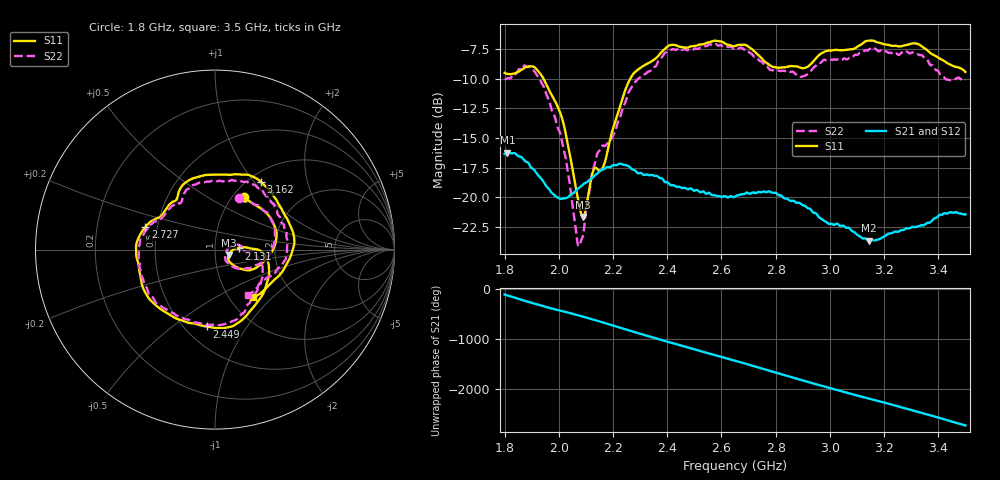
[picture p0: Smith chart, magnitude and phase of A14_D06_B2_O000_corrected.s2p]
! Created with skrf 1.9.0 (http://scikit-rf.org).
# Hz S RI R 50.0
!freq ReS11 ImS11 ReS21 ImS21 ReS12 ImS12 ReS22 ImS22
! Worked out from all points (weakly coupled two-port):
!   1601 points, 1.8 GHz to 3.5 GHz, reference 50 ohm
!   highest |S21| = -16.25 dB at 1.811 GHz (marker M1); lowest = -23.7 dB at 3.143 GHz (marker M2)
!   lowest |S11| = -21.7 dB at 2.09 GHz (marker M3), VSWR 1.18, Z = 58.2 - j3.51 ohm
!   |S11| at or under -10 dB: 1.944 GHz to 2.264 GHz (319.8 MHz wide, 15.2 % of centre)
!   |S22| runs from -24.1 to -7.1 dB; largest |S21 - S12| = 0.0026
!   S11 on the Smith chart (normalised r, x): 1.8 GHz: 1.13, +0.74; 2.131 GHz: 1.30, +0.02; 2.449 GHz: 0.64, -0.67; 2.727 GHz: 0.43, +0.13; 3.162 GHz: 1.14, +1.09; 3.5 GHz: 1.28, -0.76
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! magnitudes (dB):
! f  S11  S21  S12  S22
! 1.8 GHz  -9.5  -16.3  -16.3  -10.0
! 1.811 GHz  -9.6  -16.3  -16.3  -9.9
! 1.881 GHz  -9.0  -17.0  -17.0  -9.0
! 1.941 GHz  -9.9  -18.6  -18.6  -10.5
! 2.013 GHz  -13.4  -20.1  -20.1  -15.4
! 2.068 GHz  -19.8  -19.3  -19.3  -23.7
! 2.084 GHz  -21.5  -19.1  -19.0  -23.6
! 2.09 GHz  -21.7  -18.9  -18.9  -23.1
! 2.131 GHz  -17.6  -18.2  -18.2  -17.3
! 2.166 GHz  -17.3  -17.6  -17.6  -15.7
! 2.265 GHz  -9.9  -17.6  -17.5  -10.9
! 2.367 GHz  -8.1  -18.3  -18.2  -8.5
! 2.449 GHz  -7.3  -19.2  -19.2  -7.5
! 2.65 GHz  -7.2  -20.0  -19.9  -7.4
! 2.727 GHz  -7.8  -19.7  -19.7  -8.2
! 2.799 GHz  -9.0  -19.6  -19.6  -9.4
! 2.934 GHz  -8.7  -21.2  -21.1  -9.2
! 3.143 GHz  -6.8  -23.7  -23.5  -7.5
! 3.162 GHz  -6.8  -23.6  -23.6  -7.5
! 3.217 GHz  -7.2  -23.1  -23.0  -7.8
! 3.324 GHz  -7.1  -22.5  -22.4  -7.9
! 3.5 GHz  -9.4  -21.5  -21.4  -10.1
